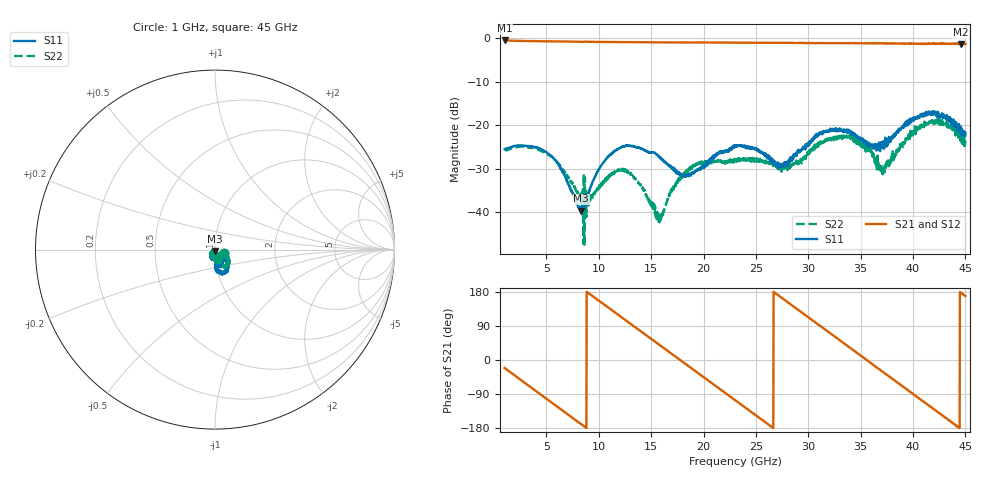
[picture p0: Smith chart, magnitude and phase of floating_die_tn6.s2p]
!Keysight Technologies,N5247B,MY61255062,A.19.80.06
!Date: Thursday, May 21, 2026 11:49:51
!Correction: S11(Cdelta 2-Port  )
!S21(Cdelta 2-Port  )
!S12(Cdelta 2-Port  )
!S22(Cdelta 2-Port  )
!S2P File: Measurements: S11, S21, S12, S22:
# Hz S  dB  R 50
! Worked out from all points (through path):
!   1601 points, 1 GHz to 45 GHz, reference 50 ohm
!   highest |S21| = -0.48 dB at 1 GHz (marker M1); lowest = -1.4 dB at 44.56 GHz (marker M2)
!   group delay of S21, straight-line fit = 56.1 ps
!   lowest |S11| = -39.7 dB at 8.315 GHz (marker M3), VSWR 1.02, Z = 49.9 - j1.03 ohm
!   |S11| at or under -10 dB: start of sweep to end of sweep
!   |S22| runs from -47.8 to -18.4 dB; largest |S21 - S12| = 0.014
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1e9  -25.51 -20.0  -0.48 -21.1  -0.48 -21.1  -25.63 -20.3
2.925e9  -24.72 -69.1  -0.60 -60.3  -0.61 -60.4  -24.94 -69.2
4.575e9  -25.61 -106.7  -0.67 -93.8  -0.67 -93.8  -26.04 -107.6
6.28e9  -29.47 -138.9  -0.72 -128.2  -0.72 -128.2  -29.19 -141.3
8.315e9  -39.68 -96.9  -0.78 -169.5  -0.79 -169.5  -37.91 -134.4
8.3425e9  -38.85 -95.1  -0.79 -170.0  -0.79 -170.1  -36.94 -143.2
1.02125e10  -29.33 -63.5  -0.82 152.3  -0.83 152.2  -33.70 -96.1
1.23575e10  -24.90 -93.4  -0.87 109.1  -0.87 109.1  -29.94 -117.2
1.398e10  -25.27 -113.0  -0.88 76.3  -0.88 76.2  -33.59 -136.3
1.5685e10  -27.07 -126.9  -0.93 41.9  -0.93 41.8  -41.81 -105.1
1.893e10  -30.82 -88.3  -0.95 -23.4  -0.96 -23.5  -29.43 -65.5
2.1075e10  -26.91 -78.0  -0.96 -66.8  -0.97 -66.9  -28.42 -79.1
2.3e10  -24.75 -85.1  -0.99 -105.8  -1.00 -105.8  -27.82 -79.5
2.66575e10  -28.42 -95.2  -1.02 -179.6  -1.01 -179.6  -29.44 -82.6
3.03425e10  -23.70 -55.4  -1.07 105.8  -1.08 105.8  -25.41 -49.5
3.235e10  -20.93 -70.1  -1.11 65.3  -1.12 65.3  -23.22 -62.1
3.4495e10  -22.40 -86.1  -1.11 21.8  -1.13 21.8  -23.43 -82.0
3.7685e10  -23.35 -51.7  -1.17 -42.7  -1.16 -43.0  -30.04 -33.7
4.09025e10  -18.03 -60.3  -1.27 -108.0  -1.27 -107.9  -20.01 -41.8
4.28e10  -17.58 -79.5  -1.16 -146.2  -1.29 -146.0  -20.07 -63.8
4.456e10  -20.42 -80.6  -1.36 177.9  -1.31 177.5  -23.07 -77.9
4.5e10  -21.75 -78.6  -1.27 168.8  -1.30 168.9  -24.14 -76.3
